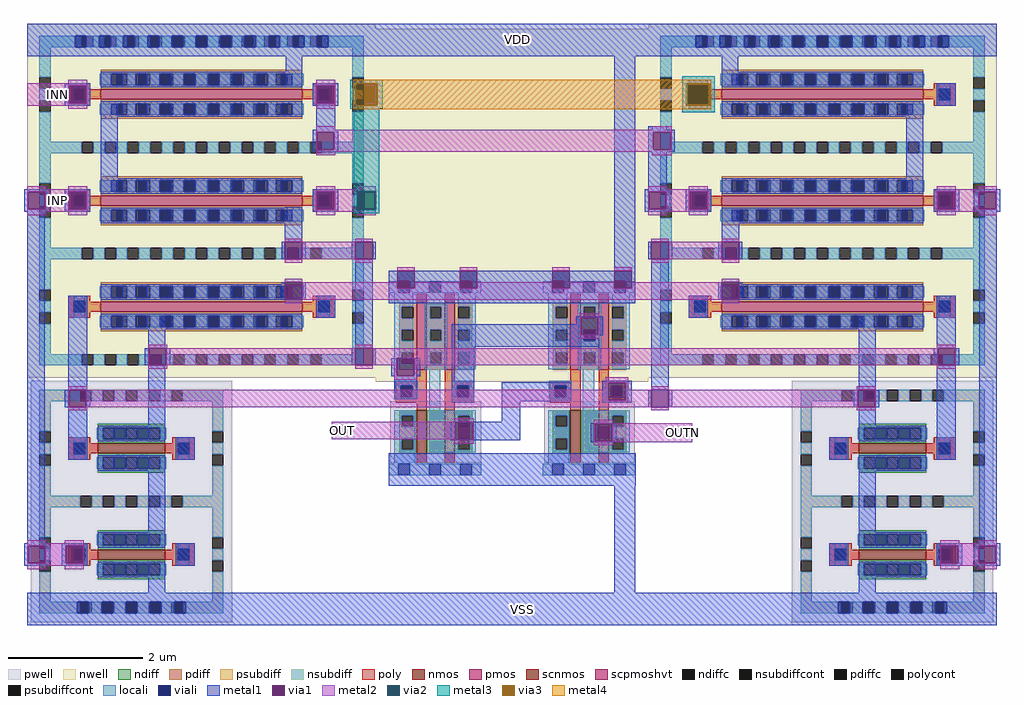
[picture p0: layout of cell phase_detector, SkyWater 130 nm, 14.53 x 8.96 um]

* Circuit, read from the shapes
.subckt phase_detector OUT OUTN INN INP VDD VSS
XM1 n1 INP VSS VSS sky130_fd_pr__nfet_01v8 w=1 l=0.15
XM2 sky130_fd_sc_hd__nand2_1_0/B sky130_fd_sc_hd__nand2_1_1/A n1 VSS sky130_fd_pr__nfet_01v8 w=1 l=0.15
XM3 n2 sky130_fd_sc_hd__nand2_1_0/B VSS VSS sky130_fd_pr__nfet_01v8 w=0.65 l=0.15
XM4 OUT OUTN n2 VSS sky130_fd_pr__nfet_01v8 w=0.65 l=0.15
XM5 n3 OUT VSS VSS sky130_fd_pr__nfet_01v8 w=0.65 l=0.15
XM6 OUTN sky130_fd_sc_hd__nand2_1_1/A n3 VSS sky130_fd_pr__nfet_01v8 w=0.65 l=0.15
XM7 n4 INN VSS VSS sky130_fd_pr__nfet_01v8 w=1 l=0.15
XM8 sky130_fd_sc_hd__nand2_1_1/A sky130_fd_sc_hd__nand2_1_0/B n4 VSS sky130_fd_pr__nfet_01v8 w=1 l=0.15
XM9 VDD sky130_fd_sc_hd__nand2_1_1/A sky130_fd_sc_hd__nand2_1_0/B VDD sky130_fd_pr__pfet_01v8 w=3 l=0.15
XM10 n5 INP sky130_fd_sc_hd__nand2_1_0/B VDD sky130_fd_pr__pfet_01v8 w=3 l=0.15
XM11 VDD INN n5 VDD sky130_fd_pr__pfet_01v8 w=3 l=0.15
XM12 OUT sky130_fd_sc_hd__nand2_1_0/B VDD VDD sky130_fd_pr__pfet_01v8_hvt w=1 l=0.15
XM13 VDD OUTN OUT VDD sky130_fd_pr__pfet_01v8_hvt w=1 l=0.15
XM14 OUTN OUT VDD VDD sky130_fd_pr__pfet_01v8_hvt w=1 l=0.15
XM15 VDD sky130_fd_sc_hd__nand2_1_1/A OUTN VDD sky130_fd_pr__pfet_01v8_hvt w=1 l=0.15
XM16 VDD sky130_fd_sc_hd__nand2_1_0/B sky130_fd_sc_hd__nand2_1_1/A VDD sky130_fd_pr__pfet_01v8 w=3 l=0.15
XM17 n6 INN sky130_fd_sc_hd__nand2_1_1/A VDD sky130_fd_pr__pfet_01v8 w=3 l=0.15
XM18 VDD INP n6 VDD sky130_fd_pr__pfet_01v8 w=3 l=0.15
.ends

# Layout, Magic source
magic
tech sky130A
magscale 1 2
<< nwell >>
rect -1174 918 1367 1956
rect 199 905 372 918
<< locali >>
rect -1042 1902 -1032 1936
rect -998 1902 -960 1936
rect -926 1902 -888 1936
rect -854 1902 -816 1936
rect -782 1902 -744 1936
rect -710 1902 -672 1936
rect -638 1902 -600 1936
rect -566 1902 -528 1936
rect -494 1902 -456 1936
rect -422 1902 -384 1936
rect -350 1902 -312 1936
rect -278 1902 -268 1936
rect 806 1902 816 1936
rect 850 1902 888 1936
rect 922 1902 960 1936
rect 994 1902 1032 1936
rect 1066 1902 1104 1936
rect 1138 1902 1176 1936
rect 1210 1902 1248 1936
rect 1282 1902 1320 1936
rect 1354 1902 1392 1936
rect 1426 1902 1464 1936
rect 1498 1902 1536 1936
rect 1570 1902 1580 1936
rect -1042 216 -1025 250
rect -991 216 -953 250
rect -919 216 -881 250
rect -847 216 -809 250
rect -775 216 -737 250
rect -703 216 -686 250
rect 1224 216 1241 250
rect 1275 216 1313 250
rect 1347 216 1385 250
rect 1419 216 1457 250
rect 1491 216 1529 250
rect 1563 216 1580 250
<< viali >>
rect -1032 1902 -998 1936
rect -960 1902 -926 1936
rect -888 1902 -854 1936
rect -816 1902 -782 1936
rect -744 1902 -710 1936
rect -672 1902 -638 1936
rect -600 1902 -566 1936
rect -528 1902 -494 1936
rect -456 1902 -422 1936
rect -384 1902 -350 1936
rect -312 1902 -278 1936
rect 816 1902 850 1936
rect 888 1902 922 1936
rect 960 1902 994 1936
rect 1032 1902 1066 1936
rect 1104 1902 1138 1936
rect 1176 1902 1210 1936
rect 1248 1902 1282 1936
rect 1320 1902 1354 1936
rect 1392 1902 1426 1936
rect 1464 1902 1498 1936
rect 1536 1902 1570 1936
rect 483 1027 517 1061
rect -62 859 -28 893
rect 106 859 140 893
rect 396 859 430 893
rect 564 859 598 893
rect 109 737 143 771
rect 525 737 559 771
rect -1025 216 -991 250
rect -953 216 -919 250
rect -881 216 -847 250
rect -809 216 -775 250
rect -737 216 -703 250
rect 1241 216 1275 250
rect 1313 216 1347 250
rect 1385 216 1419 250
rect 1457 216 1491 250
rect 1529 216 1563 250
<< metal1 >>
rect -1174 1936 1712 1972
rect -1174 1902 -1032 1936
rect -998 1902 -960 1936
rect -926 1902 -888 1936
rect -854 1902 -816 1936
rect -782 1902 -744 1936
rect -710 1902 -672 1936
rect -638 1902 -600 1936
rect -566 1902 -528 1936
rect -494 1902 -456 1936
rect -422 1902 -384 1936
rect -350 1902 -312 1936
rect -278 1902 816 1936
rect 850 1902 888 1936
rect 922 1902 960 1936
rect 994 1902 1032 1936
rect 1066 1902 1104 1936
rect 1138 1902 1176 1936
rect 1210 1902 1248 1936
rect 1282 1902 1320 1936
rect 1354 1902 1392 1936
rect 1426 1902 1464 1936
rect 1498 1902 1536 1936
rect 1570 1902 1712 1936
rect -1174 1875 1712 1902
rect -1062 1787 -986 1794
rect -1062 1735 -1050 1787
rect -998 1735 -986 1787
rect -405 1782 -355 1875
rect -324 1787 -248 1794
rect -1062 1728 -986 1735
rect -1184 1471 -1108 1478
rect -1184 1419 -1172 1471
rect -1120 1419 -1108 1471
rect -1184 1412 -1108 1419
rect -1062 1471 -986 1478
rect -1062 1419 -1050 1471
rect -998 1419 -986 1471
rect -955 1466 -905 1740
rect -324 1735 -312 1787
rect -260 1735 -248 1787
rect -324 1728 -248 1735
rect -314 1656 -258 1728
rect -324 1649 -248 1656
rect -324 1597 -312 1649
rect -260 1597 -248 1649
rect -324 1590 -248 1597
rect -324 1471 -248 1478
rect -1062 1412 -986 1419
rect -1174 424 -1122 1412
rect -407 1322 -355 1425
rect -324 1419 -312 1471
rect -260 1419 -248 1471
rect -324 1412 -248 1419
rect -417 1270 -407 1322
rect -355 1270 -345 1322
rect -208 1270 -198 1322
rect -146 1270 -136 1322
rect -1052 882 -996 1162
rect -417 1150 -407 1202
rect -355 1150 -345 1202
rect -814 1006 -764 1108
rect -314 1096 -258 1162
rect -198 1006 -146 1270
rect 573 1236 636 1875
rect 786 1787 862 1794
rect 786 1735 798 1787
rect 850 1735 862 1787
rect 893 1782 943 1875
rect 786 1728 862 1735
rect 674 1656 730 1666
rect 674 1649 754 1656
rect 674 1597 689 1649
rect 741 1597 754 1649
rect 674 1590 754 1597
rect 674 1478 730 1590
rect 664 1471 740 1478
rect 664 1419 676 1471
rect 728 1419 740 1471
rect 664 1412 740 1419
rect 786 1471 862 1478
rect 786 1419 798 1471
rect 850 1419 862 1471
rect 1443 1466 1493 1740
rect 1534 1728 1590 1794
rect 1524 1471 1600 1478
rect 786 1412 862 1419
rect 893 1322 945 1424
rect 1524 1419 1536 1471
rect 1588 1419 1600 1471
rect 1524 1412 1600 1419
rect 1646 1471 1722 1478
rect 1646 1419 1658 1471
rect 1710 1419 1722 1471
rect 1646 1412 1722 1419
rect 674 1270 684 1322
rect 736 1270 746 1322
rect 883 1270 893 1322
rect 945 1270 955 1322
rect -98 1184 -72 1236
rect -20 1184 113 1236
rect 165 1184 389 1236
rect 441 1184 573 1236
rect 625 1184 636 1236
rect -98 1140 636 1184
rect 461 1098 539 1100
rect 461 1077 474 1098
rect 90 1046 474 1077
rect 526 1046 539 1098
rect 90 1027 483 1046
rect 517 1044 539 1046
rect 517 1027 529 1044
rect 90 1010 529 1027
rect -824 954 -812 1006
rect -760 954 -748 1006
rect -208 954 -198 1006
rect -146 954 -136 1006
rect -91 975 -4 976
rect -1062 830 -1050 882
rect -998 830 -986 882
rect -1052 674 -996 830
rect -814 728 -764 954
rect -91 923 -74 975
rect -22 923 -4 975
rect -91 922 -4 923
rect -81 893 -14 922
rect -81 859 -62 893
rect -28 859 -14 893
rect -81 853 -14 859
rect 90 893 157 1010
rect 90 859 106 893
rect 140 859 157 893
rect 90 843 157 859
rect 238 893 446 904
rect 238 859 396 893
rect 430 859 446 893
rect 238 848 446 859
rect 538 902 625 909
rect 538 850 555 902
rect 607 850 625 902
rect 684 882 736 1270
rect 796 1096 852 1162
rect 883 1150 893 1202
rect 945 1150 955 1202
rect 1302 882 1352 1108
rect 1534 1006 1590 1162
rect 1524 954 1536 1006
rect 1588 954 1600 1006
rect 238 787 294 848
rect 538 843 625 850
rect 674 830 684 882
rect 736 830 746 882
rect 1286 830 1298 882
rect 1350 830 1362 882
rect 87 785 294 787
rect -1184 417 -1108 424
rect -1184 365 -1172 417
rect -1120 365 -1108 417
rect -1184 358 -1108 365
rect -1072 417 -996 424
rect -1072 365 -1060 417
rect -1008 365 -996 417
rect -814 412 -764 686
rect -732 674 -676 740
rect 87 733 100 785
rect 152 733 294 785
rect 87 731 294 733
rect 503 780 581 782
rect 503 728 516 780
rect 568 728 581 780
rect 503 726 581 728
rect -98 596 637 692
rect 1214 674 1270 740
rect 1302 728 1352 830
rect -1072 358 -996 365
rect -814 277 -764 370
rect -732 358 -676 424
rect 573 277 636 596
rect 1214 358 1270 424
rect 1302 412 1352 686
rect 1534 674 1590 954
rect 1660 424 1712 1412
rect 1534 417 1610 424
rect 1302 277 1352 368
rect 1534 365 1546 417
rect 1598 365 1610 417
rect 1534 358 1610 365
rect 1646 417 1722 424
rect 1646 365 1658 417
rect 1710 365 1722 417
rect 1646 358 1722 365
rect -1174 250 1712 277
rect -1174 216 -1025 250
rect -991 216 -953 250
rect -919 216 -881 250
rect -847 216 -809 250
rect -775 216 -737 250
rect -703 216 1241 250
rect 1275 216 1313 250
rect 1347 216 1385 250
rect 1419 216 1457 250
rect 1491 216 1529 250
rect 1563 216 1712 250
rect -1174 180 1712 216
<< via1 >>
rect -1050 1735 -998 1787
rect -1172 1419 -1120 1471
rect -1050 1419 -998 1471
rect -312 1735 -260 1787
rect -312 1597 -260 1649
rect -312 1419 -260 1471
rect -407 1270 -355 1322
rect -198 1270 -146 1322
rect -407 1150 -355 1202
rect 798 1735 850 1787
rect 689 1597 741 1649
rect 676 1419 728 1471
rect 798 1419 850 1471
rect 1536 1419 1588 1471
rect 1658 1419 1710 1471
rect 684 1270 736 1322
rect 893 1270 945 1322
rect -72 1184 -20 1236
rect 113 1184 165 1236
rect 389 1184 441 1236
rect 573 1184 625 1236
rect 474 1061 526 1098
rect 474 1046 483 1061
rect 483 1046 517 1061
rect 517 1046 526 1061
rect -812 954 -760 1006
rect -198 954 -146 1006
rect -1050 830 -998 882
rect -74 923 -22 975
rect 555 893 607 902
rect 555 859 564 893
rect 564 859 598 893
rect 598 859 607 893
rect 555 850 607 859
rect 893 1150 945 1202
rect 1536 954 1588 1006
rect 684 830 736 882
rect 1298 830 1350 882
rect -1172 365 -1120 417
rect -1060 365 -1008 417
rect 100 771 152 785
rect 100 737 109 771
rect 109 737 143 771
rect 143 737 152 771
rect 100 733 152 737
rect 516 771 568 780
rect 516 737 525 771
rect 525 737 559 771
rect 559 737 568 771
rect 516 728 568 737
rect 1546 365 1598 417
rect 1658 365 1710 417
<< metal2 >>
rect -1052 1794 -996 1804
rect -1174 1787 -996 1794
rect -1174 1735 -1050 1787
rect -998 1735 -996 1787
rect -1174 1728 -996 1735
rect -1052 1718 -996 1728
rect -314 1787 -258 1804
rect -314 1735 -312 1787
rect -260 1735 -258 1787
rect -314 1718 -258 1735
rect 796 1789 852 1804
rect 796 1718 852 1733
rect -314 1656 -258 1666
rect 687 1656 744 1666
rect -314 1649 744 1656
rect -314 1597 -312 1649
rect -260 1597 689 1649
rect 741 1597 744 1649
rect -314 1590 744 1597
rect -314 1580 -258 1590
rect 687 1580 744 1590
rect -1174 1478 -1118 1488
rect -1052 1478 -996 1488
rect -1174 1471 -996 1478
rect -1174 1419 -1172 1471
rect -1120 1419 -1050 1471
rect -998 1419 -996 1471
rect -1174 1412 -996 1419
rect -1174 1402 -1118 1412
rect -1052 1402 -996 1412
rect -314 1478 -258 1488
rect -192 1478 -136 1488
rect -314 1473 -136 1478
rect -314 1471 -192 1473
rect -314 1419 -312 1471
rect -260 1419 -192 1471
rect -314 1417 -192 1419
rect -314 1412 -136 1417
rect -314 1402 -258 1412
rect -192 1402 -136 1412
rect 674 1478 730 1488
rect 796 1478 852 1488
rect 674 1471 852 1478
rect 674 1419 676 1471
rect 728 1419 798 1471
rect 850 1419 852 1471
rect 674 1412 852 1419
rect 674 1402 730 1412
rect 796 1402 852 1412
rect 1534 1478 1590 1488
rect 1656 1478 1712 1488
rect 1534 1471 1712 1478
rect 1534 1419 1536 1471
rect 1588 1419 1658 1471
rect 1710 1419 1712 1471
rect 1534 1412 1712 1419
rect 1534 1402 1590 1412
rect 1656 1402 1712 1412
rect -407 1322 -355 1332
rect -198 1322 -146 1332
rect -355 1270 -198 1322
rect -407 1260 -355 1270
rect -198 1260 -146 1270
rect 684 1322 736 1332
rect 893 1322 945 1332
rect 736 1270 893 1322
rect 684 1260 736 1270
rect 893 1260 945 1270
rect -72 1236 -20 1246
rect -407 1202 -355 1212
rect -355 1184 -72 1202
rect 113 1236 165 1246
rect -20 1184 113 1202
rect 389 1236 441 1246
rect 165 1184 389 1202
rect 573 1236 625 1246
rect 441 1184 573 1202
rect 893 1202 945 1212
rect 625 1184 893 1202
rect -355 1150 893 1184
rect -407 1140 -355 1150
rect 893 1140 945 1150
rect 471 1098 529 1110
rect 471 1046 474 1098
rect 526 1046 529 1098
rect 471 1034 529 1046
rect -814 1006 -758 1016
rect -198 1006 -146 1016
rect 1534 1006 1590 1016
rect -814 954 -812 1006
rect -760 954 -198 1006
rect -146 975 1536 1006
rect -146 954 -74 975
rect -814 944 -758 954
rect -198 944 -146 954
rect -81 923 -74 954
rect -22 954 1536 975
rect 1588 954 1590 1006
rect -22 923 -14 954
rect 1534 944 1590 954
rect -81 912 -14 923
rect 548 902 615 919
rect -1052 882 -996 892
rect 548 882 555 902
rect -1052 830 -1050 882
rect -998 850 555 882
rect 607 882 615 902
rect 684 882 736 892
rect 1296 882 1352 892
rect 607 850 684 882
rect -998 830 684 850
rect 736 830 1298 882
rect 1350 830 1352 882
rect -1052 820 -996 830
rect 684 820 736 830
rect 1296 820 1352 830
rect 97 787 155 797
rect -268 785 155 787
rect -268 735 100 785
rect 97 733 100 735
rect 152 733 155 785
rect 97 721 155 733
rect 513 782 571 792
rect 513 780 806 782
rect 513 728 516 780
rect 568 728 806 780
rect 513 726 806 728
rect 513 716 571 726
rect -1174 424 -1118 434
rect -1062 424 -1006 434
rect -1174 417 -1006 424
rect -1174 365 -1172 417
rect -1120 365 -1060 417
rect -1008 365 -1006 417
rect -1174 358 -1006 365
rect -1174 348 -1118 358
rect -1062 348 -1006 358
rect 1544 424 1600 434
rect 1656 424 1712 434
rect 1544 417 1712 424
rect 1544 365 1546 417
rect 1598 365 1658 417
rect 1710 365 1712 417
rect 1544 358 1712 365
rect 1544 348 1600 358
rect 1656 348 1712 358
<< via2 >>
rect 796 1787 852 1789
rect 796 1735 798 1787
rect 798 1735 850 1787
rect 850 1735 852 1787
rect 796 1733 852 1735
rect -192 1417 -136 1473
<< metal3 >>
rect -212 1793 -116 1804
rect -212 1729 -196 1793
rect -132 1729 -116 1793
rect -212 1718 -116 1729
rect 776 1793 872 1815
rect 776 1729 792 1793
rect 856 1729 872 1793
rect -202 1473 -126 1718
rect 776 1708 872 1729
rect -202 1417 -192 1473
rect -136 1417 -126 1473
rect -202 1407 -126 1417
<< via3 >>
rect -196 1729 -132 1793
rect 792 1789 856 1793
rect 792 1733 796 1789
rect 796 1733 852 1789
rect 852 1733 856 1789
rect 792 1729 856 1733
<< metal4 >>
rect -203 1793 863 1805
rect -203 1729 -196 1793
rect -132 1729 792 1793
rect 856 1729 863 1793
rect -203 1717 863 1729
use sky130_fd_sc_hd__nand2_1  sky130_fd_sc_hd__nand2_1_0
transform 1 0 -98 0 1 644
box -38 -48 314 592
use sky130_fd_sc_hd__nand2_1  sky130_fd_sc_hd__nand2_1_1
transform 1 0 360 0 1 644
box -38 -48 314 592
use sky130_fd_pr__pfet_01v8_R8XU9D  XM1
transform 0 1 -655 -1 0 1761
box -211 -519 211 519
use sky130_fd_pr__pfet_01v8_R8XU9D  XM2
transform 0 -1 -655 1 0 1445
box -211 -519 211 519
use sky130_fd_pr__pfet_01v8_R8XU9D  XM3
transform 0 1 1193 -1 0 1761
box -211 -519 211 519
use sky130_fd_pr__pfet_01v8_R8XU9D  XM4
transform 0 1 1193 -1 0 1445
box -211 -519 211 519
use sky130_fd_pr__pfet_01v8_R8XU9D  XM5
transform 0 1 -655 -1 0 1129
box -211 -519 211 519
use sky130_fd_pr__nfet_01v8_TGNW9T  XM6
transform 0 -1 -864 1 0 707
box -201 -300 201 300
use sky130_fd_pr__nfet_01v8_TGNW9T  XM7
transform 0 1 -864 -1 0 391
box -201 -300 201 300
use sky130_fd_pr__pfet_01v8_R8XU9D  XM8
transform 0 1 1193 -1 0 1129
box -211 -519 211 519
use sky130_fd_pr__nfet_01v8_TGNW9T  XM9
transform 0 1 1402 -1 0 707
box -201 -300 201 300
use sky130_fd_pr__nfet_01v8_TGNW9T  XM10
transform 0 1 1402 -1 0 391
box -201 -300 201 300
<< labels >>
flabel metal2 s -262 735 -210 787 0 FreeSans 1000 0 0 0 OUT
port 1 nsew
flabel metal2 s 750 726 806 782 0 FreeSans 1000 0 0 0 OUTN
port 2 nsew
flabel metal2 s -1118 1728 -1052 1794 0 FreeSans 1000 0 0 0 INN
port 3 nsew
flabel metal2 s -1118 1412 -1052 1478 0 FreeSans 1000 0 0 0 INP
port 4 nsew
flabel metal1 s 237 1875 336 1972 0 FreeSans 1000 0 0 0 VDD
port 5 nsew
flabel metal1 s 252 180 351 277 0 FreeSans 1000 0 0 0 VSS
port 6 nsew
<< end >>

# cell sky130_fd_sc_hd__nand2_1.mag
magic
tech sky130A
magscale 1 2
<< nwell >>
rect -38 261 314 582
<< pwell >>
rect 5 21 275 203
rect 28 -17 62 21
<< scnmos >>
rect 83 47 113 177
rect 167 47 197 177
<< scpmoshvt >>
rect 83 297 113 497
rect 167 297 197 497
<< ndiff >>
rect 31 161 83 177
rect 31 127 39 161
rect 73 127 83 161
rect 31 93 83 127
rect 31 59 39 93
rect 73 59 83 93
rect 31 47 83 59
rect 113 47 167 177
rect 197 161 249 177
rect 197 127 207 161
rect 241 127 249 161
rect 197 93 249 127
rect 197 59 207 93
rect 241 59 249 93
rect 197 47 249 59
<< pdiff >>
rect 31 485 83 497
rect 31 451 39 485
rect 73 451 83 485
rect 31 417 83 451
rect 31 383 39 417
rect 73 383 83 417
rect 31 349 83 383
rect 31 315 39 349
rect 73 315 83 349
rect 31 297 83 315
rect 113 485 167 497
rect 113 451 123 485
rect 157 451 167 485
rect 113 417 167 451
rect 113 383 123 417
rect 157 383 167 417
rect 113 349 167 383
rect 113 315 123 349
rect 157 315 167 349
rect 113 297 167 315
rect 197 485 249 497
rect 197 451 207 485
rect 241 451 249 485
rect 197 417 249 451
rect 197 383 207 417
rect 241 383 249 417
rect 197 349 249 383
rect 197 315 207 349
rect 241 315 249 349
rect 197 297 249 315
<< ndiffc >>
rect 39 127 73 161
rect 39 59 73 93
rect 207 127 241 161
rect 207 59 241 93
<< pdiffc >>
rect 39 451 73 485
rect 39 383 73 417
rect 39 315 73 349
rect 123 451 157 485
rect 123 383 157 417
rect 123 315 157 349
rect 207 451 241 485
rect 207 383 241 417
rect 207 315 241 349
<< poly >>
rect 83 497 113 523
rect 167 497 197 523
rect 83 265 113 297
rect 21 249 113 265
rect 21 215 36 249
rect 70 215 113 249
rect 21 199 113 215
rect 83 177 113 199
rect 167 265 197 297
rect 167 249 255 265
rect 167 215 204 249
rect 238 215 255 249
rect 167 199 255 215
rect 167 177 197 199
rect 83 21 113 47
rect 167 21 197 47
<< polycont >>
rect 36 215 70 249
rect 204 215 238 249
<< locali >>
rect 0 527 29 561
rect 63 527 121 561
rect 155 527 213 561
rect 247 527 276 561
rect 17 485 73 527
rect 17 451 39 485
rect 17 417 73 451
rect 17 383 39 417
rect 17 349 73 383
rect 17 315 39 349
rect 17 299 73 315
rect 107 485 173 493
rect 107 451 123 485
rect 157 451 173 485
rect 107 417 173 451
rect 107 383 123 417
rect 157 383 173 417
rect 107 349 173 383
rect 107 315 123 349
rect 157 315 173 349
rect 107 297 173 315
rect 207 485 259 527
rect 241 451 259 485
rect 207 417 259 451
rect 241 383 259 417
rect 207 349 259 383
rect 241 315 259 349
rect 207 299 259 315
rect 19 249 86 265
rect 19 215 36 249
rect 70 215 86 249
rect 19 211 86 215
rect 120 177 154 297
rect 188 249 255 265
rect 188 215 204 249
rect 238 215 255 249
rect 17 161 79 177
rect 17 127 39 161
rect 73 127 79 161
rect 17 93 79 127
rect 17 59 39 93
rect 73 59 79 93
rect 17 17 79 59
rect 120 161 259 177
rect 120 127 207 161
rect 241 127 259 161
rect 120 93 259 127
rect 120 59 207 93
rect 241 59 259 93
rect 120 51 259 59
rect 0 -17 29 17
rect 63 -17 121 17
rect 155 -17 213 17
rect 247 -17 276 17
<< viali >>
rect 29 527 63 561
rect 121 527 155 561
rect 213 527 247 561
rect 29 -17 63 17
rect 121 -17 155 17
rect 213 -17 247 17
<< metal1 >>
rect 0 561 276 592
rect 0 527 29 561
rect 63 527 121 561
rect 155 527 213 561
rect 247 527 276 561
rect 0 496 276 527
rect 0 17 276 48
rect 0 -17 29 17
rect 63 -17 121 17
rect 155 -17 213 17
rect 247 -17 276 17
rect 0 -48 276 -17
<< labels >>
flabel locali s 120 85 154 119 0 FreeSans 250 0 0 0 Y
port 7 nsew
flabel locali s 120 153 154 187 0 FreeSans 250 0 0 0 Y
port 7 nsew
flabel locali s 120 221 154 255 0 FreeSans 250 0 0 0 Y
port 7 nsew
flabel locali s 28 221 62 255 0 FreeSans 250 0 0 0 B
port 8 nsew
flabel locali s 212 221 246 255 0 FreeSans 250 0 0 0 A
port 6 nsew
flabel nwell s 28 527 62 561 0 FreeSans 200 0 0 0 VPB
port 2 nsew
flabel pwell s 28 -17 62 17 0 FreeSans 200 0 0 0 VNB
port 3 nsew
flabel metal1 s 28 -17 62 17 0 FreeSans 200 0 0 0 VGND
port 4 nsew
flabel metal1 s 28 527 62 561 0 FreeSans 200 0 0 0 VPWR
port 5 nsew
rlabel comment s 0 0 0 0 4 nand2_1
<< properties >>
string FIXED_BBOX 0 0 276 544
string path 0.000 0.000 1.380 0.000 
<< end >>

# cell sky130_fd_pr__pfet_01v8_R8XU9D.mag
magic
tech sky130A
magscale 1 2
<< nwell >>
rect -211 -519 211 519
<< pmos >>
rect -15 -300 15 300
<< pdiff >>
rect -73 255 -15 300
rect -73 221 -61 255
rect -27 221 -15 255
rect -73 187 -15 221
rect -73 153 -61 187
rect -27 153 -15 187
rect -73 119 -15 153
rect -73 85 -61 119
rect -27 85 -15 119
rect -73 51 -15 85
rect -73 17 -61 51
rect -27 17 -15 51
rect -73 -17 -15 17
rect -73 -51 -61 -17
rect -27 -51 -15 -17
rect -73 -85 -15 -51
rect -73 -119 -61 -85
rect -27 -119 -15 -85
rect -73 -153 -15 -119
rect -73 -187 -61 -153
rect -27 -187 -15 -153
rect -73 -221 -15 -187
rect -73 -255 -61 -221
rect -27 -255 -15 -221
rect -73 -300 -15 -255
rect 15 255 73 300
rect 15 221 27 255
rect 61 221 73 255
rect 15 187 73 221
rect 15 153 27 187
rect 61 153 73 187
rect 15 119 73 153
rect 15 85 27 119
rect 61 85 73 119
rect 15 51 73 85
rect 15 17 27 51
rect 61 17 73 51
rect 15 -17 73 17
rect 15 -51 27 -17
rect 61 -51 73 -17
rect 15 -85 73 -51
rect 15 -119 27 -85
rect 61 -119 73 -85
rect 15 -153 73 -119
rect 15 -187 27 -153
rect 61 -187 73 -153
rect 15 -221 73 -187
rect 15 -255 27 -221
rect 61 -255 73 -221
rect 15 -300 73 -255
<< pdiffc >>
rect -61 221 -27 255
rect -61 153 -27 187
rect -61 85 -27 119
rect -61 17 -27 51
rect -61 -51 -27 -17
rect -61 -119 -27 -85
rect -61 -187 -27 -153
rect -61 -255 -27 -221
rect 27 221 61 255
rect 27 153 61 187
rect 27 85 61 119
rect 27 17 61 51
rect 27 -51 61 -17
rect 27 -119 61 -85
rect 27 -187 61 -153
rect 27 -255 61 -221
<< nsubdiff >>
rect -175 449 -51 483
rect -17 449 17 483
rect 51 449 175 483
rect -175 357 -141 449
rect 141 357 175 449
rect -175 289 -141 323
rect -175 221 -141 255
rect -175 153 -141 187
rect -175 85 -141 119
rect -175 17 -141 51
rect -175 -51 -141 -17
rect -175 -119 -141 -85
rect -175 -187 -141 -153
rect -175 -255 -141 -221
rect -175 -323 -141 -289
rect 141 289 175 323
rect 141 221 175 255
rect 141 153 175 187
rect 141 85 175 119
rect 141 17 175 51
rect 141 -51 175 -17
rect 141 -119 175 -85
rect 141 -187 175 -153
rect 141 -255 175 -221
rect 141 -323 175 -289
rect -175 -449 -141 -357
rect 141 -449 175 -357
rect -175 -483 -51 -449
rect -17 -483 17 -449
rect 51 -483 175 -449
<< nsubdiffcont >>
rect -51 449 -17 483
rect 17 449 51 483
rect -175 323 -141 357
rect 141 323 175 357
rect -175 255 -141 289
rect -175 187 -141 221
rect -175 119 -141 153
rect -175 51 -141 85
rect -175 -17 -141 17
rect -175 -85 -141 -51
rect -175 -153 -141 -119
rect -175 -221 -141 -187
rect -175 -289 -141 -255
rect 141 255 175 289
rect 141 187 175 221
rect 141 119 175 153
rect 141 51 175 85
rect 141 -17 175 17
rect 141 -85 175 -51
rect 141 -153 175 -119
rect 141 -221 175 -187
rect 141 -289 175 -255
rect -175 -357 -141 -323
rect 141 -357 175 -323
rect -51 -483 -17 -449
rect 17 -483 51 -449
<< poly >>
rect -33 381 33 397
rect -33 347 -17 381
rect 17 347 33 381
rect -33 331 33 347
rect -15 300 15 331
rect -15 -331 15 -300
rect -33 -347 33 -331
rect -33 -381 -17 -347
rect 17 -381 33 -347
rect -33 -397 33 -381
<< polycont >>
rect -17 347 17 381
rect -17 -381 17 -347
<< locali >>
rect -175 449 -51 483
rect -17 449 17 483
rect 51 449 175 483
rect -175 357 -141 449
rect -33 347 -17 381
rect 17 347 33 381
rect 141 357 175 449
rect -175 289 -141 323
rect -175 221 -141 255
rect -175 153 -141 187
rect -175 85 -141 119
rect -175 17 -141 51
rect -175 -51 -141 -17
rect -175 -119 -141 -85
rect -175 -187 -141 -153
rect -175 -255 -141 -221
rect -175 -323 -141 -289
rect -61 269 -27 304
rect -61 197 -27 221
rect -61 125 -27 153
rect -61 53 -27 85
rect -61 -17 -27 17
rect -61 -85 -27 -53
rect -61 -153 -27 -125
rect -61 -221 -27 -197
rect -61 -304 -27 -269
rect 27 269 61 304
rect 27 197 61 221
rect 27 125 61 153
rect 27 53 61 85
rect 27 -17 61 17
rect 27 -85 61 -53
rect 27 -153 61 -125
rect 27 -221 61 -197
rect 27 -304 61 -269
rect 141 289 175 323
rect 141 221 175 255
rect 141 153 175 187
rect 141 85 175 119
rect 141 17 175 51
rect 141 -51 175 -17
rect 141 -119 175 -85
rect 141 -187 175 -153
rect 141 -255 175 -221
rect 141 -323 175 -289
rect -175 -449 -141 -357
rect -33 -381 -17 -347
rect 17 -381 33 -347
rect 141 -449 175 -357
rect -175 -483 -51 -449
rect -17 -483 17 -449
rect 51 -483 175 -449
<< viali >>
rect -17 347 17 381
rect -61 255 -27 269
rect -61 235 -27 255
rect -61 187 -27 197
rect -61 163 -27 187
rect -61 119 -27 125
rect -61 91 -27 119
rect -61 51 -27 53
rect -61 19 -27 51
rect -61 -51 -27 -19
rect -61 -53 -27 -51
rect -61 -119 -27 -91
rect -61 -125 -27 -119
rect -61 -187 -27 -163
rect -61 -197 -27 -187
rect -61 -255 -27 -235
rect -61 -269 -27 -255
rect 27 255 61 269
rect 27 235 61 255
rect 27 187 61 197
rect 27 163 61 187
rect 27 119 61 125
rect 27 91 61 119
rect 27 51 61 53
rect 27 19 61 51
rect 27 -51 61 -19
rect 27 -53 61 -51
rect 27 -119 61 -91
rect 27 -125 61 -119
rect 27 -187 61 -163
rect 27 -197 61 -187
rect 27 -255 61 -235
rect 27 -269 61 -255
rect -17 -381 17 -347
<< metal1 >>
rect -29 381 29 387
rect -29 347 -17 381
rect 17 347 29 381
rect -29 341 29 347
rect -67 269 -21 300
rect -67 235 -61 269
rect -27 235 -21 269
rect -67 197 -21 235
rect -67 163 -61 197
rect -27 163 -21 197
rect -67 125 -21 163
rect -67 91 -61 125
rect -27 91 -21 125
rect -67 53 -21 91
rect -67 19 -61 53
rect -27 19 -21 53
rect -67 -19 -21 19
rect -67 -53 -61 -19
rect -27 -53 -21 -19
rect -67 -91 -21 -53
rect -67 -125 -61 -91
rect -27 -125 -21 -91
rect -67 -163 -21 -125
rect -67 -197 -61 -163
rect -27 -197 -21 -163
rect -67 -235 -21 -197
rect -67 -269 -61 -235
rect -27 -269 -21 -235
rect -67 -300 -21 -269
rect 21 269 67 300
rect 21 235 27 269
rect 61 235 67 269
rect 21 197 67 235
rect 21 163 27 197
rect 61 163 67 197
rect 21 125 67 163
rect 21 91 27 125
rect 61 91 67 125
rect 21 53 67 91
rect 21 19 27 53
rect 61 19 67 53
rect 21 -19 67 19
rect 21 -53 27 -19
rect 61 -53 67 -19
rect 21 -91 67 -53
rect 21 -125 27 -91
rect 61 -125 67 -91
rect 21 -163 67 -125
rect 21 -197 27 -163
rect 61 -197 67 -163
rect 21 -235 67 -197
rect 21 -269 27 -235
rect 61 -269 67 -235
rect 21 -300 67 -269
rect -29 -347 29 -341
rect -29 -381 -17 -347
rect 17 -381 29 -347
rect -29 -387 29 -381
<< properties >>
string FIXED_BBOX -158 -466 158 466
<< end >>

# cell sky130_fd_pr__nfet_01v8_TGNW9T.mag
magic
tech sky130A
magscale 1 2
<< pwell >>
rect -201 -300 201 300
<< nmos >>
rect -15 -100 15 100
<< ndiff >>
rect -73 85 -15 100
rect -73 51 -61 85
rect -27 51 -15 85
rect -73 17 -15 51
rect -73 -17 -61 17
rect -27 -17 -15 17
rect -73 -51 -15 -17
rect -73 -85 -61 -51
rect -27 -85 -15 -51
rect -73 -100 -15 -85
rect 15 85 73 100
rect 15 51 27 85
rect 61 51 73 85
rect 15 17 73 51
rect 15 -17 27 17
rect 61 -17 73 17
rect 15 -51 73 -17
rect 15 -85 27 -51
rect 61 -85 73 -51
rect 15 -100 73 -85
<< ndiffc >>
rect -61 51 -27 85
rect -61 -17 -27 17
rect -61 -85 -27 -51
rect 27 51 61 85
rect 27 -17 61 17
rect 27 -85 61 -51
<< psubdiff >>
rect -175 240 -51 274
rect -17 240 17 274
rect 51 240 175 274
rect -175 153 -141 240
rect 141 153 175 240
rect -175 85 -141 119
rect -175 17 -141 51
rect -175 -51 -141 -17
rect -175 -119 -141 -85
rect 141 85 175 119
rect 141 17 175 51
rect 141 -51 175 -17
rect 141 -119 175 -85
rect -175 -240 -141 -153
rect 141 -240 175 -153
rect -175 -274 -51 -240
rect -17 -274 17 -240
rect 51 -274 175 -240
<< psubdiffcont >>
rect -51 240 -17 274
rect 17 240 51 274
rect -175 119 -141 153
rect 141 119 175 153
rect -175 51 -141 85
rect -175 -17 -141 17
rect -175 -85 -141 -51
rect 141 51 175 85
rect 141 -17 175 17
rect 141 -85 175 -51
rect -175 -153 -141 -119
rect 141 -153 175 -119
rect -51 -274 -17 -240
rect 17 -274 51 -240
<< poly >>
rect -33 172 33 188
rect -33 138 -17 172
rect 17 138 33 172
rect -33 122 33 138
rect -15 100 15 122
rect -15 -122 15 -100
rect -33 -138 33 -122
rect -33 -172 -17 -138
rect 17 -172 33 -138
rect -33 -188 33 -172
<< polycont >>
rect -17 138 17 172
rect -17 -172 17 -138
<< locali >>
rect -175 240 -51 274
rect -17 240 17 274
rect 51 240 175 274
rect -175 153 -141 240
rect -33 138 -17 172
rect 17 138 33 172
rect 141 153 175 240
rect -175 85 -141 119
rect -175 17 -141 51
rect -175 -51 -141 -17
rect -175 -119 -141 -85
rect -61 85 -27 104
rect -61 17 -27 19
rect -61 -19 -27 -17
rect -61 -104 -27 -85
rect 27 85 61 104
rect 27 17 61 19
rect 27 -19 61 -17
rect 27 -104 61 -85
rect 141 85 175 119
rect 141 17 175 51
rect 141 -51 175 -17
rect 141 -119 175 -85
rect -175 -240 -141 -153
rect -33 -172 -17 -138
rect 17 -172 33 -138
rect 141 -240 175 -153
rect -175 -274 -51 -240
rect -17 -274 17 -240
rect 51 -274 175 -240
<< viali >>
rect -17 138 17 172
rect -61 51 -27 53
rect -61 19 -27 51
rect -61 -51 -27 -19
rect -61 -53 -27 -51
rect 27 51 61 53
rect 27 19 61 51
rect 27 -51 61 -19
rect 27 -53 61 -51
rect -17 -172 17 -138
<< metal1 >>
rect -29 172 29 178
rect -29 138 -17 172
rect 17 138 29 172
rect -29 132 29 138
rect -67 53 -21 100
rect -67 19 -61 53
rect -27 19 -21 53
rect -67 -19 -21 19
rect -67 -53 -61 -19
rect -27 -53 -21 -19
rect -67 -100 -21 -53
rect 21 53 67 100
rect 21 19 27 53
rect 61 19 67 53
rect 21 -19 67 19
rect 21 -53 27 -19
rect 61 -53 67 -19
rect 21 -100 67 -53
rect -29 -138 29 -132
rect -29 -172 -17 -138
rect 17 -172 29 -138
rect -29 -178 29 -172
<< properties >>
string FIXED_BBOX -158 -257 158 257
<< end >>
